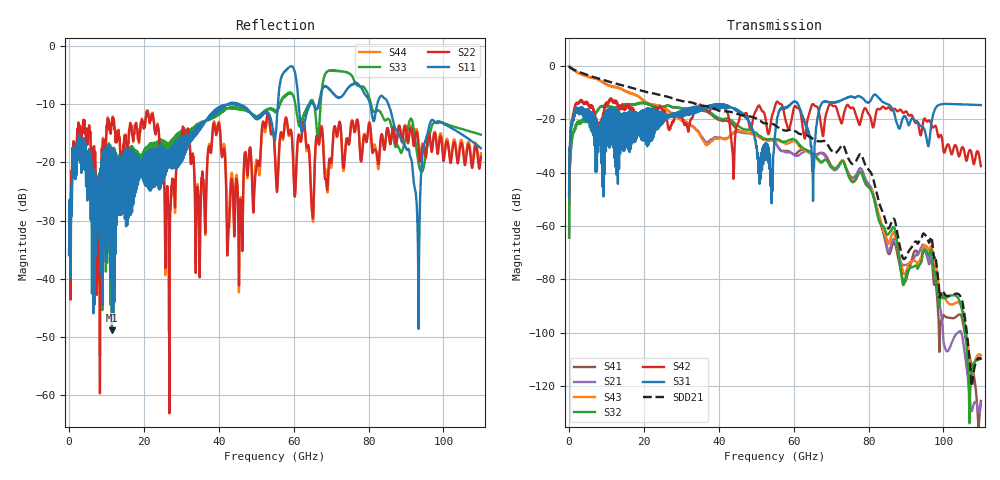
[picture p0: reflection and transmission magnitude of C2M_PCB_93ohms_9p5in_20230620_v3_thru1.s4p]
! Info: Touchstone file created by Circ.  Input file=C2M_PCB_93ohms_9p5in_20230620_v3.circ
# Hz S RI R 50
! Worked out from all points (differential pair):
!   11000 points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, 10 MHz to 110 GHz, reference 50 ohm
!   strongest paths, dB at 10 MHz, 27.51 GHz, 55.01 GHz, 82.51 GHz, 110 GHz:
!     S31: -48.9, -18.0, -26.0, -11.7, -14.7
!     S42: -48.7, -21.1, -15.1, -16.1, -37.6
!     S32: -64.2, -15.4, -27.5, -56.6, -109.7
!     S43: -0.1, -18.0, -27.9, -54.6, -108.5
!     S21: -0.1, -17.7, -28.5, -56.4, -126.2
!     S41: -64.2, -15.6, -28.7, -55.5, -125.5
!   taken as a pair (ports 3,1 in; 4,2 out), SDD21 dB: -0.1, -12.1, -22.2, -49.8, -110.0
!   lowest |S11| = -48.9 dB at 11.44 GHz (marker M1), VSWR 1.01, Z = 50.2 - j0.296 ohm
!   |S11| at or under -10 dB: start of sweep to 42.37 GHz; 45.48 GHz to 55.75 GHz (10.28 GHz wide, 20.3 % of centre); 85.29 GHz to end of sweep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
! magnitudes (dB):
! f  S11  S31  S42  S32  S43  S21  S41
! 10 MHz  -35.8  -48.9  -48.7  -64.2  -0.1  -0.1  -64.2
! 1.66 GHz  -22.9  -16.6  -14.5  -23.6  -2.0  -2.0  -23.6
! 11.44 GHz  -48.9  -28.7  -13.2  -15.6  -7.7  -7.7  -15.6
! 53.97 GHz  -12.9  -38.8  -20.3  -27.4  -27.8  -27.7  -27.8
! 60.06 GHz  -3.9  -13.4  -15.8  -27.5  -28.2  -33.3  -33.3
! 65.06 GHz  -9.8  -39.2  -14.3  -33.1  -33.5  -33.1  -32.7
! 110 GHz  -17.6  -14.7  -37.6  -109.7  -108.5  -126.2  -125.5
